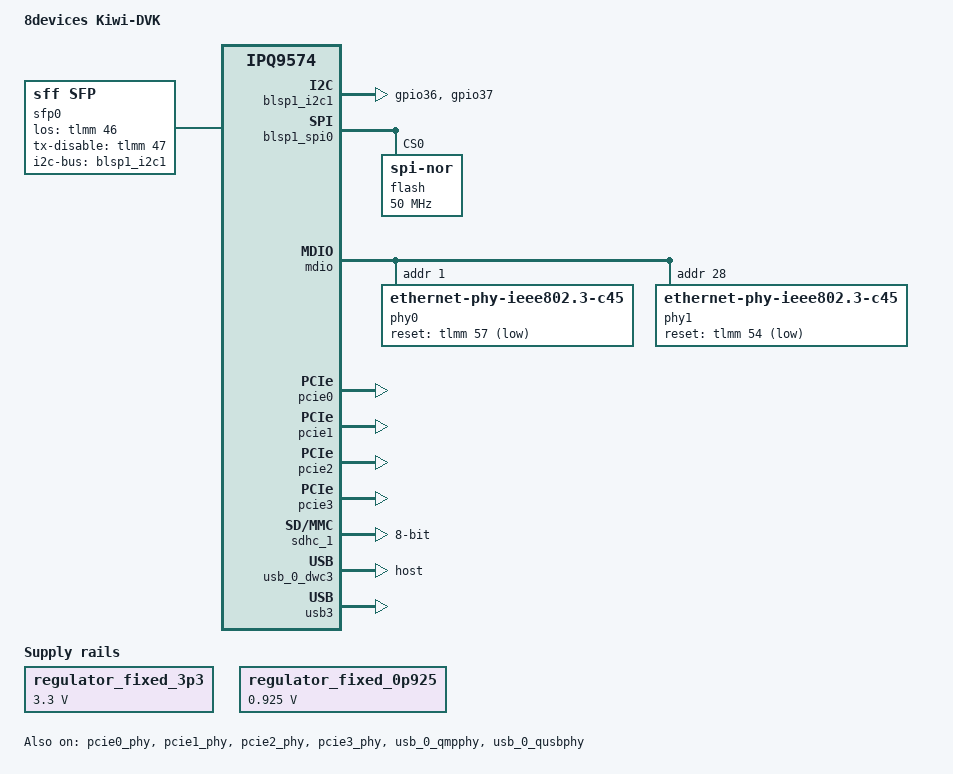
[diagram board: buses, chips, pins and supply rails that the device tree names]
// SPDX-License-Identifier: (GPL-2.0+ OR BSD-3-Clause)

/dts-v1/;

#include "ipq9574-common.dtsi"

/ {
	model = "8devices Kiwi-DVK";
	compatible = "8devices,kiwi-dvk", "qcom,ipq9574";

	aliases {
		ethernet0 = &xgmac1;
		ethernet1 = &xgmac5;
		ethernet2 = &xgmac6;
	};

	regulator_fixed_3p3: s3300 {
		compatible = "regulator-fixed";
		regulator-min-microvolt = <3300000>;
		regulator-max-microvolt = <3300000>;
		regulator-boot-on;
		regulator-always-on;
		regulator-name = "fixed_3p3";
	};

	regulator_fixed_0p925: s0925 {
		compatible = "regulator-fixed";
		regulator-min-microvolt = <925000>;
		regulator-max-microvolt = <925000>;
		regulator-boot-on;
		regulator-always-on;
		regulator-name = "fixed_0p925";
	};

	sfp0: sfp-0 {
		compatible = "sff,sfp";
		pinctrl-0 = <&sfp0_default>;
		pinctrl-names = "default";
		i2c-bus = <&blsp1_i2c1>;
		los-gpios = <&tlmm 46 GPIO_ACTIVE_HIGH>;
		tx-disable-gpios = <&tlmm 47 GPIO_ACTIVE_HIGH>;
	};
};

&blsp1_i2c1 {
	pinctrl-0 = <&i2c1_default>;
	pinctrl-names = "default";
	status = "okay";
};

&blsp1_spi0 {
	pinctrl-0 = <&spi_0_default>;
	pinctrl-names = "default";
	status = "okay";

	flash@0 {
		compatible = "jedec,spi-nor";
		reg = <0>;
		spi-max-frequency = <50000000>;
	};
};

&crypto {
	status = "disabled";
};

&cryptobam {
	status = "disabled";
};

&qcom_ppe {
	ethernet-ports {
		#address-cells = <1>;
		#size-cells = <0>;

		xgmac1: port@1 {
			reg = <1>;
			phy-mode = "10gbase-r";
			managed = "in-band-status";
			label = "wan";
			sfp = <&sfp0>;
			pcs-handle = <&pcs0_ch0>;
			local-mac-address = [00 00 00 00 00 00];
			clocks = <&nsscc NSS_CC_PORT1_MAC_CLK>,
				 <&nsscc NSS_CC_PORT1_RX_CLK>,
				 <&nsscc NSS_CC_PORT1_TX_CLK>;
			clock-names = "mac",
				      "rx",
				      "tx";
			resets = <&nsscc PORT1_MAC_ARES>,
				 <&nsscc PORT1_RX_ARES>,
				 <&nsscc PORT1_TX_ARES>;
			reset-names = "mac",
				      "rx",
				      "tx";
		};

		xgmac5: port@5 {
			reg = <5>;
			phy-mode = "2500base-x";
			label = "lan1";
			phy-handle = <&phy0>;
			pcs-handle = <&pcs1_ch0>;
			local-mac-address = [00 00 00 00 00 00];
			clocks = <&nsscc NSS_CC_PORT5_MAC_CLK>,
				 <&nsscc NSS_CC_PORT5_RX_CLK>,
				 <&nsscc NSS_CC_PORT5_TX_CLK>;
			clock-names = "mac",
				      "rx",
				      "tx";
			resets = <&nsscc PORT5_MAC_ARES>,
				 <&nsscc PORT5_RX_ARES>,
				 <&nsscc PORT5_TX_ARES>;
			reset-names = "mac",
				      "rx",
				      "tx";
		};

		xgmac6: port@6 {
			reg = <6>;
			phy-mode = "usxgmii";
			managed = "in-band-status";
			label = "lan2";
			phy-handle = <&phy1>;
			pcs-handle = <&pcs2_ch0>;
			local-mac-address = [00 00 00 00 00 00];
			clocks = <&nsscc NSS_CC_PORT6_MAC_CLK>,
				 <&nsscc NSS_CC_PORT6_RX_CLK>,
				 <&nsscc NSS_CC_PORT6_TX_CLK>;
			clock-names = "mac",
				      "rx",
				      "tx";
			resets = <&nsscc PORT6_MAC_ARES>,
				 <&nsscc PORT6_RX_ARES>,
				 <&nsscc PORT6_TX_ARES>;
			reset-names = "mac",
				      "rx",
				      "tx";
		};
	};
};

&mdio {
	status = "okay";
	pinctrl-0 = <&mdio_pins>;
	pinctrl-names = "default";

	phy0: ethernet-phy@1 {
		compatible = "ethernet-phy-ieee802.3-c45";
		reg = <1>;
		reset-gpios = <&tlmm 57 GPIO_ACTIVE_LOW>;
	};

	phy1: ethernet-phy@28 {
		compatible = "ethernet-phy-ieee802.3-c45";
		reg = <28>;
		reset-assert-us = <40>;
		reset-deassert-us = <150000>;
		reset-gpios = <&tlmm 54 GPIO_ACTIVE_LOW>;
	};
};

&pcie0 {
	pinctrl-0 = <&pcie0_default>;
	pinctrl-names = "default";

	perst-gpios = <&tlmm 23 GPIO_ACTIVE_LOW>;
	wake-gpios = <&tlmm 24 GPIO_ACTIVE_LOW>;
	status = "okay";
};

&pcie0_phy {
	status = "okay";
};

&pcie1 {
	pinctrl-0 = <&pcie1_default>;
	pinctrl-names = "default";

	perst-gpios = <&tlmm 26 GPIO_ACTIVE_LOW>;
	wake-gpios = <&tlmm 27 GPIO_ACTIVE_LOW>;
	status = "okay";
};

&pcie1_phy {
	status = "okay";
};

&pcie2 {
	pinctrl-0 = <&pcie2_default>;
	pinctrl-names = "default";

	perst-gpios = <&tlmm 29 GPIO_ACTIVE_LOW>;
	wake-gpios = <&tlmm 30 GPIO_ACTIVE_LOW>;
	status = "okay";
};

&pcie2_phy {
	status = "okay";
};

&pcie3 {
	pinctrl-0 = <&pcie3_default>;
	pinctrl-names = "default";

	perst-gpios = <&tlmm 32 GPIO_ACTIVE_LOW>;
	wake-gpios = <&tlmm 33 GPIO_ACTIVE_LOW>;
	status = "okay";
};

&pcie3_phy {
	status = "okay";
};

&rpm_requests {
	regulators {
		mp5496_l5: l5 {
			regulator-min-microvolt = <1800000>;
			regulator-max-microvolt = <1800000>;
			regulator-always-on;
			regulator-boot-on;
		};
	};
};

&sdhc_1 {
	bus-width = <8>;
	max-frequency = <384000000>;
	mmc-ddr-1_8v;
	mmc-hs200-1_8v;
	mmc-hs400-1_8v;
	mmc-hs400-enhanced-strobe;
	pinctrl-0 = <&sdc_default_state>;
	pinctrl-names = "default";
	status = "okay";
};

&tlmm {
	i2c1_default: i2c1-default-state {
		pins = "gpio36", "gpio37";
		function = "blsp1_i2c";
		drive-strength = <8>;
		bias-pull-up;
	};

	sfp0_default: sfp0-default-state {
		pins = "gpio46", "gpio47";
		function = "gpio";
		drive-strength = <8>;
		bias-pull-down;
	};
};

&usb_0_dwc3 {
	dr_mode = "host";
};

&usb_0_qmpphy {
	vdda-pll-supply = <&mp5496_l5>;
	vdda-phy-supply = <&regulator_fixed_0p925>;

	status = "okay";
};

&usb_0_qusbphy {
	vdd-supply = <&regulator_fixed_0p925>;
	vdda-pll-supply = <&mp5496_l5>;
	vdda-phy-dpdm-supply = <&regulator_fixed_3p3>;

	status = "okay";
};

&usb3 {
	status = "okay";
};

/* Keep Kiwi's PCIe3 PERST# pull-up. */
&pcie3_default {
	perst-n-pins {
		/delete-property/ bias-pull-down;
		bias-pull-up;
	};
};
